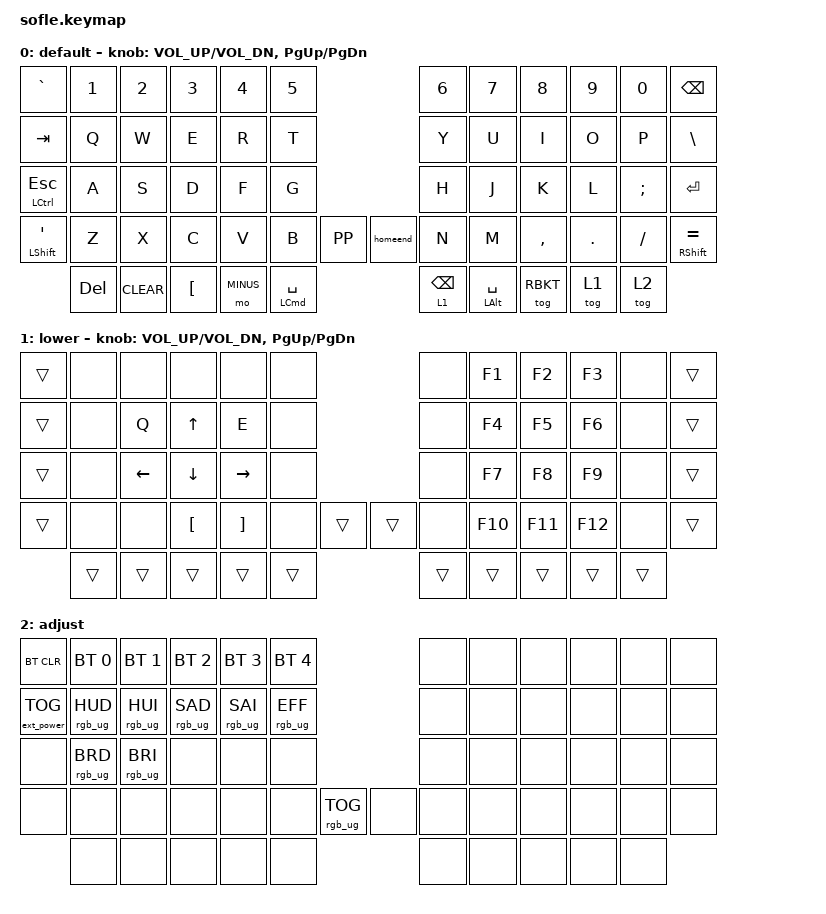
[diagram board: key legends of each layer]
/*
 * Copyright (c) 2020 The ZMK Contributors
 *
 * SPDX-License-Identifier: MIT
 */

#include <behaviors.dtsi>
#include <dt-bindings/zmk/keys.h>
#include <dt-bindings/zmk/bt.h>
#include <dt-bindings/zmk/rgb.h>
#include <dt-bindings/zmk/ext_power.h>

#define BASE 0
#define LOWER 1
#define ADJUST 2

/ {
    behaviors {
        homeend: home_end {
            compatible = "zmk,behavior-mod-morph";
            label = "HOME_END";
            #binding-cells = <0>;
            bindings = <&kp HOME>, <&kp END>;
            mods = <(MOD_LSFT|MOD_RSFT)>;
        };
    };
};

/ {

   // Activate ADJUST layer by pressing raise and lower
    conditional_layers {
        compatible = "zmk,conditional-layers";
        adjust_layer {
            if-layers = <LOWER RAISE>;
            then-layer = <ADJUST>;
        };
    };

    keymap {
        compatible = "zmk,keymap";

        default_layer {
            label = "default";
// ------------------------------------------------------------------------------------------------------------
// |   `   |  1  |  2  |  3   |  4   |  5   |                   |  6   |  7    |  8    |  9   |   0   |       |
// |  ESC  |  Q  |  W  |  E   |  R   |  T   |                   |  Y   |  U    |  I    |  O   |   P   | BKSPC |
// |  TAB  |  A  |  S  |  D   |  F   |  G   |                   |  H   |  J    |  K    |  L   |   ;   |   '   |
// | SHIFT |  Z  |  X  |  C   |  V   |  B   |  MUTE  |  |       |  N   |  M    |  ,    |  .   |   /   | SHIFT |
//               | GUI | ALT  | CTRL | LOWER|  ENTER |  | SPACE | RAISE| CTRL  | ALT   | GUI  |
            bindings = <
&kp GRAVE              &kp N1 &kp N2   &kp N3   &kp N4    &kp N5                           &kp N6 &kp N7    &kp N8    &kp N9   &kp N0    &kp BACKSPACE
&kp TAB                &kp Q  &kp W    &kp E    &kp R     &kp T                            &kp Y  &kp U     &kp I     &kp O    &kp P     &kp BACKSLASH
&mt LCTRL ESC          &kp A  &kp S    &kp D    &kp F     &kp G                            &kp H  &kp J     &kp K     &kp L    &kp SEMI  &kp RET
&mt LSHFT SINGLE_QUOTE &kp Z  &kp X    &kp C    &kp V     &kp B      &kp K_PP &homeend     &kp N  &kp M     &kp COMMA &kp DOT  &kp SLASH &mt RSHIFT EQUAL
                 &kp DELETE &kp CLEAR &kp LBKT &mo MINUS  &mt LCMD SPACE    &lt 1 BACKSPACE  &mt LALT SPACE  &tog RBKT &tog 1  &tog 2
            >;

            sensor-bindings = <&inc_dec_kp C_VOL_UP C_VOL_DN &inc_dec_kp PG_UP PG_DN>;
        };

        lower_layer {
            label = "lower";
// TODO: Some binds are waiting for shifted keycode support.
// ------------------------------------------------------------------------------------------------------------
// |   0   |     |      |       |       |      |                   |    | F1  | F2  | F3  |   |  0  |
// |   0   |     |  Q   |  UP   |  E    |      |                   |    | F4  | F5  | F6  |   |  0  |
// |   0   |     | LEFT | DOWN  | RIGHT |      |                   |    | F7  | F8  | F9  |   |  0  |
// |   0   |     |      |  [    |   ]   |      |     0  |  |  0    |    | F10 | F11 | F10 |   |  0  |
//                                | 0 | 0 | 0 | 0 | 0 |      | 0 | 0 | 0 | 0 | 0 |
            bindings = <
&trans    &none &none    &none    &none     &none                            &none  &kp F1  &kp F2  &kp F3  &none  &trans
&trans    &none &kp Q    &kp UP   &kp E     &none                            &none  &kp F4  &kp F5  &kp F6  &none  &trans
&trans    &none &kp LEFT &kp DOWN &kp RIGHT &none                            &none  &kp F7  &kp F8  &kp F9  &none  &trans
&trans    &none &none    &kp LBKT &kp RBKT  &none     &trans       &trans    &none  &kp F10 &kp F11 &kp F12 &none  &trans
                       &trans &trans &trans &trans &trans             &trans &trans &trans &trans &trans
            >;

            sensor-bindings = <&inc_dec_kp C_VOL_UP C_VOL_DN &inc_dec_kp PG_UP PG_DN>;
        };

        adjust_layer {
// ----------------------------------------------------------------------------------------------------------------------------
// | BTCLR  |  BT1    |  BT2    |   BT3   |   BT4   |   BT5   |                  |      |      |       |      |       |       |
// | EXTPWR | RGB_HUD | RGB_HUI | RGB_SAD | RGB_SAI | RGB_EFF |                  |      |      |       |      |       |       |
// |        | RGB_BRD | RGB_BRI |         |         |         |                  |      |      |       |      |       |       |
// |        |         |         |         |         |         | RGB_TOG | |      |      |      |       |      |       |       |
//                    |         |         |         |         |         | |      |      |      |       |      |
            label = "adjust";
            bindings = <
&bt BT_CLR        &bt BT_SEL 0    &bt BT_SEL 1    &bt BT_SEL 2    &bt BT_SEL 3    &bt BT_SEL 4                            &none &none &none &none &none &none
&ext_power EP_TOG &rgb_ug RGB_HUD &rgb_ug RGB_HUI &rgb_ug RGB_SAD &rgb_ug RGB_SAI &rgb_ug RGB_EFF                         &none &none &none &none &none &none
&none             &rgb_ug RGB_BRD &rgb_ug RGB_BRI &none           &none           &none                                   &none &none &none &none &none &none
&none             &none           &none           &none           &none           &none            &rgb_ug RGB_TOG &none  &none &none &none &none &none &none
                                  &none           &none           &none           &none            &none           &none  &none &none &none &none
            >;
        };

    };
};
